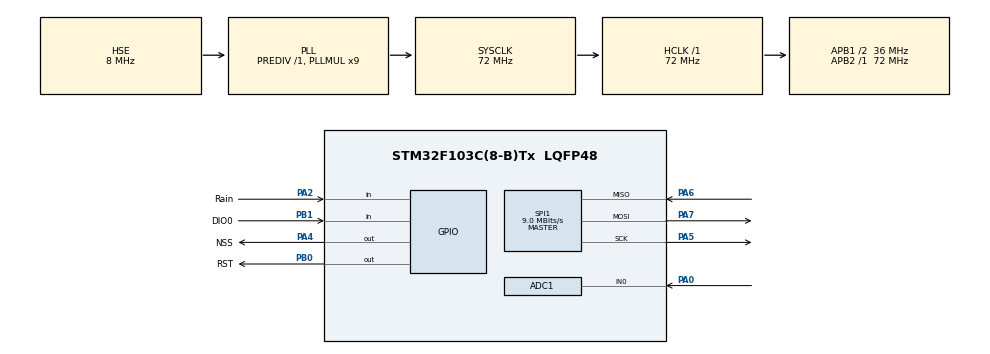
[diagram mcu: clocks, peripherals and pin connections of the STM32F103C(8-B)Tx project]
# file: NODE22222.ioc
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ADC1.Channel-0\#ChannelRegularConversion=ADC_CHANNEL_0
ADC1.NbrOfConversionFlag=1
ADC1.Rank-0\#ChannelRegularConversion=1
ADC1.SamplingTime-0\#ChannelRegularConversion=ADC_SAMPLETIME_1CYCLE_5
ADC1.master=1
Mcu.Family=STM32F1
Mcu.Name=STM32F103C(8-B)Tx
Mcu.Package=LQFP48
NVIC.PriorityGroup=NVIC_PRIORITYGROUP_4
NVIC.SPI1_IRQn=true\:0\:0\:false\:false\:true\:true\:true\:true
PA0-WKUP.Signal=ADCx_IN0
PA13.Mode=Serial_Wire
PA13.Signal=SYS_JTMS-SWDIO
PA14.Mode=Serial_Wire
PA14.Signal=SYS_JTCK-SWCLK
PA2.GPIO_Label=Rain
PA2.Signal=GPIO_Input
PA4.GPIO_Label=NSS
PA4.Signal=GPIO_Output
PA5.Mode=Full_Duplex_Master
PA5.Signal=SPI1_SCK
PA6.Mode=Full_Duplex_Master
PA6.Signal=SPI1_MISO
PA7.Mode=Full_Duplex_Master
PA7.Signal=SPI1_MOSI
PB0.GPIO_Label=RST
PB0.Signal=GPIO_Output
PB1.GPIO_Label=DIO0
PB1.Signal=GPIO_Input
PD0-OSC_IN.Mode=HSE-External-Oscillator
PD0-OSC_IN.Signal=RCC_OSC_IN
PD1-OSC_OUT.Mode=HSE-External-Oscillator
PD1-OSC_OUT.Signal=RCC_OSC_OUT
ProjectManager.HeapSize=0x200
ProjectManager.StackSize=0x400
ProjectManager.TargetToolchain=STM32CubeIDE
RCC.ADCPresc=RCC_ADCPCLK2_DIV6
RCC.AHBFreq_Value=72000000
RCC.APB1CLKDivider=RCC_HCLK_DIV2
RCC.APB1Freq_Value=36000000
RCC.APB1TimFreq_Value=72000000
RCC.APB2Freq_Value=72000000
RCC.APB2TimFreq_Value=72000000
RCC.HCLKFreq_Value=72000000
RCC.PLLMUL=RCC_PLL_MUL9
RCC.PLLSourceVirtual=RCC_PLLSOURCE_HSE
RCC.SYSCLKFreq_VALUE=72000000
RCC.SYSCLKSource=RCC_SYSCLKSOURCE_PLLCLK
RCC.USBFreq_Value=72000000
SH.ADCx_IN0.0=ADC1_IN0,IN0
SPI1.BaudRatePrescaler=SPI_BAUDRATEPRESCALER_8
SPI1.CalculateBaudRate=9.0 MBits/s
SPI1.Direction=SPI_DIRECTION_2LINES
SPI1.Mode=SPI_MODE_MASTER
SPI1.VirtualType=VM_MASTER
board=custom

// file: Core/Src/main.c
/* USER CODE BEGIN Header */
/**
  ******************************************************************************
  * @file           : main.c
  * @brief          : Main program body
  ******************************************************************************
  * @attention
  *
  * Copyright (c) 2022 STMicroelectronics.
  * All rights reserved.
  *
  * This software is licensed under terms that can be found in the LICENSE file
  * in the root directory of this software component.
  * If no LICENSE file comes with this software, it is provided AS-IS.
  *
  ******************************************************************************
  */
/* USER CODE END Header */
#include "main.h"
#include "adc.h"
#include "spi.h"
#include "gpio.h"

/* USER CODE BEGIN Includes */
#include <stdio.h>
#include "string.h"
#include "stdlib.h"
#include "LoRa.h"
/* USER CODE END Includes */

void SystemClock_Config(void);

/* USER CODE BEGIN 0 */

char buffer[512];
char save[512];
int message;
uint8_t TxBuffer[128];
uint8_t RxBuffer[128];
uint8_t received_data[20];
uint8_t vRain;
uint16_t ADC_Value;
float soil;

/* USER CODE END 0 */

int main(void)
{

  /* MCU Configuration--------------------------------------------------------*/

  /* Reset of all peripherals, Initializes the Flash interface and the Systick. */
  HAL_Init();

  /* Configure the system clock */
  SystemClock_Config();

  /* Initialize all configured peripherals */
  MX_GPIO_Init();
  MX_ADC1_Init();
  MX_SPI1_Init();
  /* USER CODE BEGIN 2 */
LoRa myLoRa;

// initilize LoRa Module
myLoRa = newLoRa();
myLoRa.CS_port = NSS_GPIO_Port;
myLoRa.CS_pin = NSS_Pin;
myLoRa.reset_port = RST_GPIO_Port;
myLoRa.reset_pin = RST_Pin;
myLoRa.DIO0_port = DIO0_GPIO_Port;
myLoRa.DIO0_pin = DIO0_Pin;
myLoRa.hSPIx = &hspi1;

myLoRa.frequency             = 433        ;
myLoRa.spredingFactor        = SF_7       ;
myLoRa.bandWidth			 = BW_125KHz  ;
myLoRa.crcRate               = CR_4_5     ;
myLoRa.power				 = POWER_20db ;
myLoRa.overCurrentProtection = 100        ;
myLoRa.preamble			     = 10         ;
myLoRa.synwords = 0xF3;

LoRa_reset(&myLoRa);
LoRa_init(&myLoRa);
LoRa_startReceiving(&myLoRa);
HAL_ADC_Start_IT(&hadc1);

  /* USER CODE END 2 */

  /* Infinite loop */
  while (1)
  {
//	  DHT_GetData(&DHT22_Data);
//	 	  Temp = DHT22_Data.Temperature;
//	 	  Hum = DHT22_Data.Humidity;
//	 	  BH1750_ReadLight(&BH1750_lux);
	  HAL_ADC_Start(&hadc1);
	  HAL_ADC_PollForConversion(&hadc1, 100);
	  ADC_Value = HAL_ADC_GetValue(&hadc1)*3.5/4096;
	  soil = 100 - (ADC_Value/3.3)*100;
	  vRain = HAL_GPIO_ReadPin(GPIOA, Rain_Pin);
	 	  HAL_Delay(1000);

	 	  ///	  Send data
	 	  	  	  TxBuffer[0] = 29;
	 	  	  	  TxBuffer[1] = 37;
	 	  	  	  TxBuffer[2] = soil;
	 	  	  	  TxBuffer[3] = vRain;

	 	  	  LoRa_transmit(&myLoRa, (uint8_t*)TxBuffer, 4, 500);
	 	  	  HAL_Delay(1000);
  }
}

void SystemClock_Config(void)
{
  RCC_OscInitTypeDef RCC_OscInitStruct = {0};
  RCC_ClkInitTypeDef RCC_ClkInitStruct = {0};
  RCC_PeriphCLKInitTypeDef PeriphClkInit = {0};

  /** Initializes the RCC Oscillators according to the specified parameters
  * in the RCC_OscInitTypeDef structure.
  */
  RCC_OscInitStruct.OscillatorType = RCC_OSCILLATORTYPE_HSE;
  RCC_OscInitStruct.HSEState = RCC_HSE_ON;
  RCC_OscInitStruct.HSEPredivValue = RCC_HSE_PREDIV_DIV1;
  RCC_OscInitStruct.HSIState = RCC_HSI_ON;
  RCC_OscInitStruct.PLL.PLLState = RCC_PLL_ON;
  RCC_OscInitStruct.PLL.PLLSource = RCC_PLLSOURCE_HSE;
  RCC_OscInitStruct.PLL.PLLMUL = RCC_PLL_MUL9;
  if (HAL_RCC_OscConfig(&RCC_OscInitStruct) != HAL_OK)
  {
    Error_Handler();
  }

  /** Initializes the CPU, AHB and APB buses clocks
  */
  RCC_ClkInitStruct.ClockType = RCC_CLOCKTYPE_HCLK|RCC_CLOCKTYPE_SYSCLK
                              |RCC_CLOCKTYPE_PCLK1|RCC_CLOCKTYPE_PCLK2;
  RCC_ClkInitStruct.SYSCLKSource = RCC_SYSCLKSOURCE_PLLCLK;
  RCC_ClkInitStruct.AHBCLKDivider = RCC_SYSCLK_DIV1;
  RCC_ClkInitStruct.APB1CLKDivider = RCC_HCLK_DIV2;
  RCC_ClkInitStruct.APB2CLKDivider = RCC_HCLK_DIV1;

  if (HAL_RCC_ClockConfig(&RCC_ClkInitStruct, FLASH_LATENCY_2) != HAL_OK)
  {
    Error_Handler();
  }
  PeriphClkInit.PeriphClockSelection = RCC_PERIPHCLK_ADC;
  PeriphClkInit.AdcClockSelection = RCC_ADCPCLK2_DIV6;
  if (HAL_RCCEx_PeriphCLKConfig(&PeriphClkInit) != HAL_OK)
  {
    Error_Handler();
  }
}

void Error_Handler(void)
{
  __disable_irq();
  while (1)
  {
  }
}
